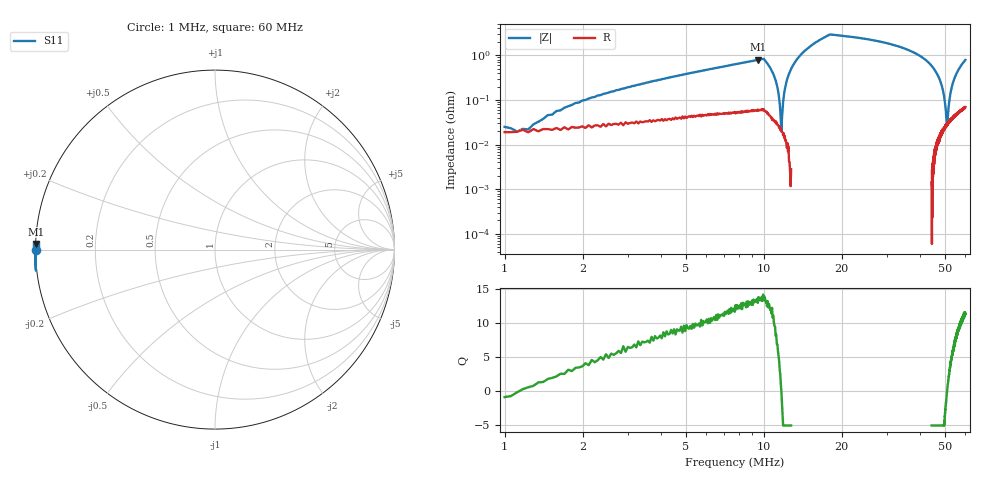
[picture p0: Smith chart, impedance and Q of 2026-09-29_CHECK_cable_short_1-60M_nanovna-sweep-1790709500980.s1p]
! NanoVNA Web complex sweep
! Processing: unaveraged complex samples; linear segment spacing; no smoothing
# Hz S RI R 50
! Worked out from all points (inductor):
!   1010 points, 1 MHz to 60 MHz, reference 50 ohm
!   read as one part to ground: L = 8.84 nH near 1.76 MHz
!   highest Q = 13.3 at 9.537 MHz (marker M1), where L = 13.2 nH
!   self-resonance near 11.69 MHz
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1000000  -0.9992 -0.000648
1233896  -0.9992 0.000442
2286428  -0.9989 0.00491
4216070  -0.9985 0.0123
8426198  -0.9974 0.0276
9537204  -0.9972 0.0316
9712626  -0.9971 0.0321
9888048  -0.997 0.0328
1.006347e7  -0.9972 0.0317
1.023889e7  -0.9975 0.0278
1.064821e7  -0.9982 0.0197
1.117448e7  -0.9988 0.00973
1.281175e7  -0.9998 -0.021
1.444902e7  -1 -0.0514
1.579392e7  -0.9995 -0.0763
1.678798e7  -0.9989 -0.0948
1.772356e7  -0.998 -0.1122
1.789899e7  -0.9976 -0.1155
1.801593e7  -0.9975 -0.1173
1.813288e7  -0.9977 -0.1168
1.83083e7  -0.9976 -0.1162
2.316165e7  -0.9988 -0.0988
3.052937e7  -0.9998 -0.0725
3.789709e7  -1 -0.0465
4.526482e7  -0.9996 -0.0203
5.263254e7  -0.9985 0.00575
5.9474e7  -0.9969 0.0295
6.000027e7  -0.9967 0.0312
